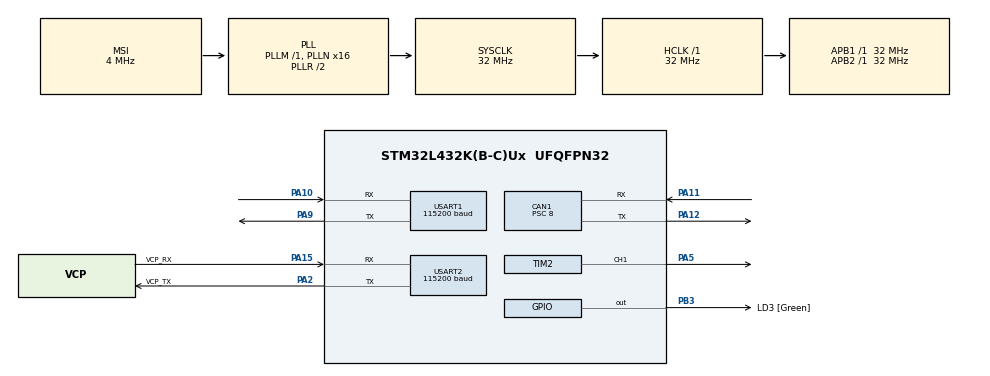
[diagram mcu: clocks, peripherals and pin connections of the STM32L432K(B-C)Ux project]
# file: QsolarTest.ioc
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CAN1.BS1=CAN_BS1_8TQ
CAN1.BS2=CAN_BS2_7TQ
CAN1.CalculateBaudRate=250000
CAN1.CalculateTimeBit=4000
CAN1.CalculateTimeQuantum=250.0
CAN1.Prescaler=8
Dma.Request0=USART1_RX
Dma.USART1_RX.0.Direction=DMA_PERIPH_TO_MEMORY
Dma.USART1_RX.0.Instance=DMA1_Channel5
Dma.USART1_RX.0.MemDataAlignment=DMA_MDATAALIGN_BYTE
Dma.USART1_RX.0.MemInc=DMA_MINC_ENABLE
Dma.USART1_RX.0.Mode=DMA_NORMAL
Dma.USART1_RX.0.PeriphDataAlignment=DMA_PDATAALIGN_BYTE
Dma.USART1_RX.0.PeriphInc=DMA_PINC_DISABLE
Dma.USART1_RX.0.Priority=DMA_PRIORITY_HIGH
Mcu.Family=STM32L4
Mcu.Name=STM32L432K(B-C)Ux
Mcu.Package=UFQFPN32
NVIC.CAN1_RX0_IRQn=true\:0\:0\:false\:false\:true\:true\:true\:true
NVIC.DMA1_Channel5_IRQn=true\:0\:0\:false\:false\:true\:false\:true\:true
NVIC.PriorityGroup=NVIC_PRIORITYGROUP_4
NVIC.USART1_IRQn=true\:0\:0\:false\:false\:true\:true\:true\:true
PA0.GPIO_Label=MCO [High speed clock in]
PA0.Mode=HSE-External-Clock-Source-for-LittleOrca
PA0.Signal=RCC_CK_IN
PA10.Mode=Asynchronous
PA10.Signal=USART1_RX
PA11.Mode=CAN_Activate
PA11.Signal=CAN1_RX
PA12.Mode=CAN_Activate
PA12.Signal=CAN1_TX
PA13\ (JTMS-SWDIO).GPIO_Label=SWDIO
PA13\ (JTMS-SWDIO).Mode=Serial_Wire
PA13\ (JTMS-SWDIO).Signal=SYS_JTMS-SWDIO
PA14\ (JTCK-SWCLK).GPIO_Label=SWCLK
PA14\ (JTCK-SWCLK).Mode=Serial_Wire
PA14\ (JTCK-SWCLK).Signal=SYS_JTCK-SWCLK
PA15\ (JTDI).GPIO_Label=VCP_RX
PA15\ (JTDI).Mode=Asynchronous
PA15\ (JTDI).Signal=USART2_RX
PA2.GPIO_Label=VCP_TX
PA2.Mode=Asynchronous
PA2.Signal=USART2_TX
PA5.Signal=S_TIM2_CH1
PA9.Mode=Asynchronous
PA9.Signal=USART1_TX
PB3\ (JTDO-TRACESWO).GPIO_Label=LD3 [Green]
PB3\ (JTDO-TRACESWO).Signal=GPIO_Output
PC14-OSC32_IN\ (PC14).Mode=LSE-External-Oscillator
PC14-OSC32_IN\ (PC14).Signal=RCC_OSC32_IN
PC15-OSC32_OUT\ (PC15).Mode=LSE-External-Oscillator
PC15-OSC32_OUT\ (PC15).Signal=RCC_OSC32_OUT
ProjectManager.HeapSize=0x200
ProjectManager.StackSize=0x400
ProjectManager.TargetToolchain=CMake
RCC.AHBFreq_Value=32000000
RCC.APB1Freq_Value=32000000
RCC.APB1TimFreq_Value=32000000
RCC.APB2Freq_Value=32000000
RCC.APB2TimFreq_Value=32000000
RCC.CortexFreq_Value=32000000
RCC.HCLKFreq_Value=32000000
RCC.HSE_VALUE=8000000
RCC.HSI16_VALUE=16000000
RCC.HSI48_VALUE=48000000
RCC.HSI_VALUE=16000000
RCC.MSI_VALUE=4000000
RCC.PLLMUL=RCC_PLLMUL_4
RCC.PLLN=16
RCC.SYSCLKFreq_VALUE=32000000
RCC.SYSCLKSource=RCC_SYSCLKSOURCE_PLLCLK
RCC.VCOOutputFreq_Value=64000000
SH.S_TIM2_CH1.0=TIM2_CH1,PWM Generation1 CH1
TIM2.Channel-PWM\ Generation1\ CH1=TIM_CHANNEL_1
TIM2.Period=19999
TIM2.Prescaler=79
TIM2.Pulse-PWM\ Generation1\ CH1=1500
USART1.BaudRate=115200
USART1.VirtualMode-Asynchronous=VM_ASYNC
USART2.BaudRate=115200
USART2.VirtualMode-Asynchronous=VM_ASYNC
VP_TIM2_VS_ClockSourceINT.Mode=Internal
board=NUCLEO-L432KC

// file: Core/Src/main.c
/* USER CODE BEGIN Header */
/**
 ******************************************************************************
 * @file           : main.c
 * @brief          : UART To CAN transmit test with LED blink (NUCLEO-L432KC)
 ******************************************************************************
 */
/* USER CODE END Header */
#include "main.h"

/* USER CODE BEGIN Includes */
#include <stdint.h>
#include <string.h>
#include "stm32l4xx_hal.h"
#include "uart_comm.h"
#include "can_comm.h"
/* USER CODE END Includes */

CAN_HandleTypeDef hcan1;
TIM_HandleTypeDef htim2;
UART_HandleTypeDef huart1;
UART_HandleTypeDef huart2;
DMA_HandleTypeDef hdma_usart1_rx;

/* USER CODE BEGIN PV */
extern FusedOrientation fusedOrientation;
extern IMU_Data imu_data[3]; // main: 0x50, Left: 0x51, Right: 0x52
extern float filtered_distance[2]; // 0x01, 0x02

typedef enum {
  STATE_SEND_IMU = 0,
  STATE_WAIT_IMU,
  STATE_SEND_US,
  STATE_WAIT_US,
  STATE_PROCESS
} AppState;
AppState state = STATE_SEND_IMU;

uint8_t  current_index = 0;
uint32_t imu_timestamp = 0;
uint32_t us_timestamp  = 0;
uint8_t data_recieved = 0;
uint8_t imu_data_fresh[3];  // index 0=0x50, 1=0x51, 2=0x52
uint8_t filtered_distance_fresh[2];  // index 0=0x01, 1=0x02
float corrected_distance[2]; // after applying height correction based on IMU angles

/* USER CODE END PV */

void SystemClock_Config(void);
static void MX_GPIO_Init(void);
static void MX_DMA_Init(void);
static void MX_USART2_UART_Init(void);
static void MX_CAN1_Init(void);
static void MX_USART1_UART_Init(void);
static void MX_TIM2_Init(void);

int main(void)
{

  /* MCU Configuration--------------------------------------------------------*/

  /* Reset of all peripherals, Initializes the Flash interface and the Systick. */
  HAL_Init();

  /* Configure the system clock */
  SystemClock_Config();

  /* Initialize all configured peripherals */
  MX_GPIO_Init();
  MX_DMA_Init();
  MX_USART2_UART_Init();
  MX_CAN1_Init();
  MX_USART1_UART_Init();
  MX_TIM2_Init();

  /* USER CODE BEGIN 2 */
  UART_Comm_Init(&huart1);
  initCAN(&hcan1);
  init_ultrasonic_filters();
  /* USER CODE END 2 */
  /* Infinite loop */
  /* USER CODE BEGIN WHILE */
while (1)
{
    switch (state)
    {
      case STATE_SEND_IMU:
      {
        if (imu_addresses[current_index] == 0x00)
        {
          state = STATE_PROCESS;
          break;
        }
        imu_data_fresh[current_index] = 0;
        Modbus_Send_Request(&huart1, imu_addresses[current_index]);
        imu_timestamp = HAL_GetTick();
        state = STATE_WAIT_IMU;
        break;
      }

      case STATE_WAIT_IMU:
      {
        if (imu_data_fresh[current_index] || (HAL_GetTick() - imu_timestamp) > IMU_TIMEOUT_MS)
        {
          imu_data_fresh[current_index] = 0;
          state = STATE_SEND_US;
        }
        break;
      }

      case STATE_SEND_US:
      {
        if (us_addresses[current_index] == 0x00)
        {
          state = STATE_PROCESS;
          break;
        }
        filtered_distance_fresh[current_index] = 0;
        HAL_Delay(1);
        Modbus_Send_Request(&huart1, us_addresses[current_index]);
        us_timestamp = HAL_GetTick();
        state = STATE_WAIT_US;
        break;
      }

      case STATE_WAIT_US:
      {
        if (filtered_distance_fresh[current_index] || (HAL_GetTick() - us_timestamp) > ULTRASONIC_TIMEOUT_MS)
        {
          filtered_distance_fresh[current_index] = 0;
          state = STATE_PROCESS;
        }
        break;
      }

      case STATE_PROCESS:
      {
        current_index++;
        if (current_index >= SENSOR_PAIR_COUNT)
        {
          current_index = 0;
          fuse_orientation(&imu_data[0], &imu_data[1], &imu_data[2], &fusedOrientation);

          float roll_from_ultra = roll_ultra(filtered_distance[0], filtered_distance[1], SENSOR_DISTANCE_MM);
          fusedOrientation.global_roll = fuse_roll(fusedOrientation.global_roll, roll_from_ultra);
          corrected_distance[0] = corrected_height(filtered_distance[0], fusedOrientation.global_roll, fusedOrientation.global_pitch);
          corrected_distance[1] = corrected_height(filtered_distance[1], fusedOrientation.global_roll, fusedOrientation.global_pitch);

          //! DATABASE TEST OUTPUT
          char msg[256];
          float left_height   = corrected_distance[0];
          float right_height  = corrected_distance[1];
          float global_height = (left_height + right_height) / 2.0f;

          float roll_f  = fusedOrientation.global_roll;
          float pitch_f = fusedOrientation.global_pitch;
          float yaw_f   = fusedOrientation.global_yaw;

          int len = snprintf(msg, sizeof(msg),"%.2f, %.2f, %.2f, %.2f, %.2f, %.2f \r\n",
          left_height, right_height, global_height,
          roll_f, pitch_f, yaw_f);
          HAL_UART_Transmit(&huart2,(uint8_t*)msg,len,100);
          //! END DATABASE TEST OUTPUT

          SendCANData(&hcan1, corrected_distance, &fusedOrientation);
        }
        state = STATE_SEND_IMU;
        break;
      }

      default:
      {
        current_index = 0;
        state = STATE_SEND_IMU;
        break;
      }
    }
  }
  /* USER CODE END 3 */
}

//! ------------------ DON'T EDIT BELOW THIS LINE ------------------
void SystemClock_Config(void)
{
  RCC_OscInitTypeDef RCC_OscInitStruct = {0};
  RCC_ClkInitTypeDef RCC_ClkInitStruct = {0};

  /** Configure the main internal regulator output voltage
  */
  if (HAL_PWREx_ControlVoltageScaling(PWR_REGULATOR_VOLTAGE_SCALE1) != HAL_OK)
  {
    Error_Handler();
  }

  /** Configure LSE Drive Capability
  */
  HAL_PWR_EnableBkUpAccess();
  __HAL_RCC_LSEDRIVE_CONFIG(RCC_LSEDRIVE_LOW);

  /** Initializes the RCC Oscillators according to the specified parameters
  * in the RCC_OscInitTypeDef structure.
  */
  RCC_OscInitStruct.OscillatorType = RCC_OSCILLATORTYPE_LSE|RCC_OSCILLATORTYPE_MSI;
  RCC_OscInitStruct.LSEState = RCC_LSE_ON;
  RCC_OscInitStruct.MSIState = RCC_MSI_ON;
  RCC_OscInitStruct.MSICalibrationValue = 0;
  RCC_OscInitStruct.MSIClockRange = RCC_MSIRANGE_6;
  RCC_OscInitStruct.PLL.PLLState = RCC_PLL_ON;
  RCC_OscInitStruct.PLL.PLLSource = RCC_PLLSOURCE_MSI;
  RCC_OscInitStruct.PLL.PLLM = 1;
  RCC_OscInitStruct.PLL.PLLN = 16;
  RCC_OscInitStruct.PLL.PLLP = RCC_PLLP_DIV7;
  RCC_OscInitStruct.PLL.PLLQ = RCC_PLLQ_DIV2;
  RCC_OscInitStruct.PLL.PLLR = RCC_PLLR_DIV2;
  if (HAL_RCC_OscConfig(&RCC_OscInitStruct) != HAL_OK)
  {
    Error_Handler();
  }

  /** Initializes the CPU, AHB and APB buses clocks
  */
  RCC_ClkInitStruct.ClockType = RCC_CLOCKTYPE_HCLK|RCC_CLOCKTYPE_SYSCLK
                              |RCC_CLOCKTYPE_PCLK1|RCC_CLOCKTYPE_PCLK2;
  RCC_ClkInitStruct.SYSCLKSource = RCC_SYSCLKSOURCE_PLLCLK;
  RCC_ClkInitStruct.AHBCLKDivider = RCC_SYSCLK_DIV1;
  RCC_ClkInitStruct.APB1CLKDivider = RCC_HCLK_DIV1;
  RCC_ClkInitStruct.APB2CLKDivider = RCC_HCLK_DIV1;

  if (HAL_RCC_ClockConfig(&RCC_ClkInitStruct, FLASH_LATENCY_1) != HAL_OK)
  {
    Error_Handler();
  }

  /** Enable MSI Auto calibration
  */
  HAL_RCCEx_EnableMSIPLLMode();
}

static void MX_CAN1_Init(void)
{

  hcan1.Instance = CAN1;
  hcan1.Init.Prescaler = 8;
  hcan1.Init.Mode = CAN_MODE_NORMAL;
  hcan1.Init.SyncJumpWidth = CAN_SJW_1TQ;
  hcan1.Init.TimeSeg1 = CAN_BS1_8TQ;
  hcan1.Init.TimeSeg2 = CAN_BS2_7TQ;
  hcan1.Init.TimeTriggeredMode = DISABLE;
  hcan1.Init.AutoBusOff = ENABLE;
  hcan1.Init.AutoWakeUp = DISABLE;
  hcan1.Init.AutoRetransmission = DISABLE;
  hcan1.Init.ReceiveFifoLocked = DISABLE;
  hcan1.Init.TransmitFifoPriority = DISABLE;
  if (HAL_CAN_Init(&hcan1) != HAL_OK)
  {
    Error_Handler();
  }

}

static void MX_TIM2_Init(void)
{

  TIM_ClockConfigTypeDef sClockSourceConfig = {0};
  TIM_MasterConfigTypeDef sMasterConfig = {0};
  TIM_OC_InitTypeDef sConfigOC = {0};

  htim2.Instance = TIM2;
  htim2.Init.Prescaler = 79;
  htim2.Init.CounterMode = TIM_COUNTERMODE_UP;
  htim2.Init.Period = 19999;
  htim2.Init.ClockDivision = TIM_CLOCKDIVISION_DIV1;
  htim2.Init.AutoReloadPreload = TIM_AUTORELOAD_PRELOAD_DISABLE;
  if (HAL_TIM_Base_Init(&htim2) != HAL_OK)
  {
    Error_Handler();
  }
  sClockSourceConfig.ClockSource = TIM_CLOCKSOURCE_INTERNAL;
  if (HAL_TIM_ConfigClockSource(&htim2, &sClockSourceConfig) != HAL_OK)
  {
    Error_Handler();
  }
  if (HAL_TIM_PWM_Init(&htim2) != HAL_OK)
  {
    Error_Handler();
  }
  sMasterConfig.MasterOutputTrigger = TIM_TRGO_RESET;
  sMasterConfig.MasterSlaveMode = TIM_MASTERSLAVEMODE_DISABLE;
  if (HAL_TIMEx_MasterConfigSynchronization(&htim2, &sMasterConfig) != HAL_OK)
  {
    Error_Handler();
  }
  sConfigOC.OCMode = TIM_OCMODE_PWM1;
  sConfigOC.Pulse = 1500;
  sConfigOC.OCPolarity = TIM_OCPOLARITY_HIGH;
  sConfigOC.OCFastMode = TIM_OCFAST_DISABLE;
  if (HAL_TIM_PWM_ConfigChannel(&htim2, &sConfigOC, TIM_CHANNEL_1) != HAL_OK)
  {
    Error_Handler();
  }
  HAL_TIM_MspPostInit(&htim2);

}

static void MX_USART1_UART_Init(void)
{

  huart1.Instance = USART1;
  huart1.Init.BaudRate = 115200;
  huart1.Init.WordLength = UART_WORDLENGTH_8B;
  huart1.Init.StopBits = UART_STOPBITS_1;
  huart1.Init.Parity = UART_PARITY_NONE;
  huart1.Init.Mode = UART_MODE_TX_RX;
  huart1.Init.HwFlowCtl = UART_HWCONTROL_NONE;
  huart1.Init.OverSampling = UART_OVERSAMPLING_16;
  huart1.Init.OneBitSampling = UART_ONE_BIT_SAMPLE_DISABLE;
  huart1.AdvancedInit.AdvFeatureInit = UART_ADVFEATURE_NO_INIT;
  if (HAL_UART_Init(&huart1) != HAL_OK)
  {
    Error_Handler();
  }

}

static void MX_USART2_UART_Init(void)
{

  huart2.Instance = USART2;
  huart2.Init.BaudRate = 115200;
  huart2.Init.WordLength = UART_WORDLENGTH_8B;
  huart2.Init.StopBits = UART_STOPBITS_1;
  huart2.Init.Parity = UART_PARITY_NONE;
  huart2.Init.Mode = UART_MODE_TX_RX;
  huart2.Init.HwFlowCtl = UART_HWCONTROL_NONE;
  huart2.Init.OverSampling = UART_OVERSAMPLING_16;
  huart2.Init.OneBitSampling = UART_ONE_BIT_SAMPLE_DISABLE;
  huart2.AdvancedInit.AdvFeatureInit = UART_ADVFEATURE_NO_INIT;
  if (HAL_UART_Init(&huart2) != HAL_OK)
  {
    Error_Handler();
  }

}

static void MX_DMA_Init(void)
{

  /* DMA controller clock enable */
  __HAL_RCC_DMA1_CLK_ENABLE();

  /* DMA interrupt init */
  /* DMA1_Channel5_IRQn interrupt configuration */
  HAL_NVIC_SetPriority(DMA1_Channel5_IRQn, 0, 0);
  HAL_NVIC_EnableIRQ(DMA1_Channel5_IRQn);

}

static void MX_GPIO_Init(void)
{
  GPIO_InitTypeDef GPIO_InitStruct = {0};

  /* GPIO Ports Clock Enable */
  __HAL_RCC_GPIOC_CLK_ENABLE();
  __HAL_RCC_GPIOA_CLK_ENABLE();
  __HAL_RCC_GPIOB_CLK_ENABLE();

  /*Configure GPIO pin Output Level */
  HAL_GPIO_WritePin(LD3_GPIO_Port, LD3_Pin, GPIO_PIN_RESET);

  /*Configure GPIO pin : LD3_Pin */
  GPIO_InitStruct.Pin = LD3_Pin;
  GPIO_InitStruct.Mode = GPIO_MODE_OUTPUT_PP;
  GPIO_InitStruct.Pull = GPIO_NOPULL;
  GPIO_InitStruct.Speed = GPIO_SPEED_FREQ_LOW;
  HAL_GPIO_Init(LD3_GPIO_Port, &GPIO_InitStruct);

}

void Error_Handler(void)
{
  __disable_irq();
  while (1) {
  }
}
#ifdef USE_FULL_ASSERT
/**
  * @brief  Reports the name of the source file and the source line number
  *         where the assert_param error has occurred.
  * @param  file: pointer to the source file name
  * @param  line: assert_param error line source number
  * @retval None
  */
void assert_failed(uint8_t *file, uint32_t line)
{
  /* USER CODE BEGIN 6 */
  /* User can add his own implementation to report the file name and line
     number, ex: printf("Wrong parameters value: file %s on line %d\r\n", file,
     line) */
  /* USER CODE END 6 */
}
#endif /* USE_FULL_ASSERT */
